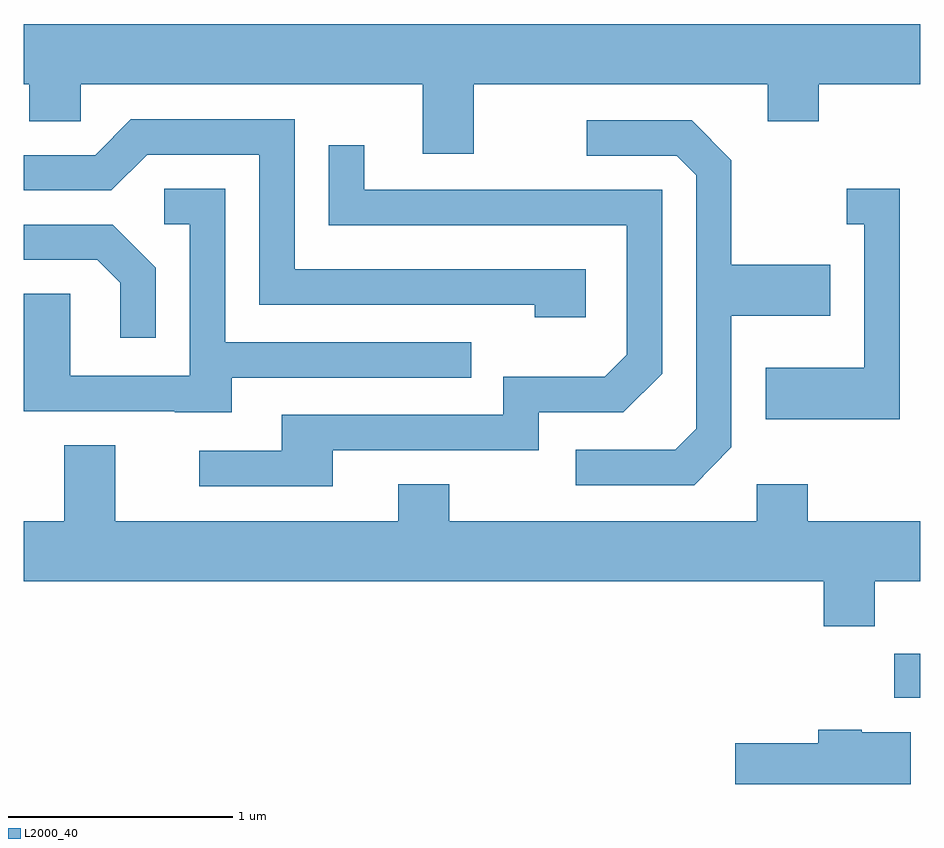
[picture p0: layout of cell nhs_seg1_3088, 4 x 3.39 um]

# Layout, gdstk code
import gdstk
lib = gdstk.Library(unit=1e-6, precision=1e-09)
def R(c, l, rs):  # rectangles x0, y0, x1, y1
    for r in rs: c.add(gdstk.rectangle(r[:2], r[2:], *l))
def P(c, l, *ps):  # polygons
    for p in ps: c.add(gdstk.Polygon(p, *l))
L2000_40 = (2000, 40)

nhs_seg1_3088 = lib.new_cell('nhs_seg1_3088')
R(nhs_seg1_3088, L2000_40, [(281.496,970.096,281.611,970.294)])
P(nhs_seg1_3088, L2000_40, [(279.619,972.836),(280.931,972.836),(280.931,972.671),(281.159,972.671),(281.159,972.836),(281.611,972.836),(281.611,973.104),(277.611,973.104),(277.611,972.836),(277.636,972.836),(277.636,972.671),(277.864,972.671),(277.864,972.836),(279.391,972.836),(279.391,972.526),(279.619,972.526)],
  [(280.119,972.009),(278.819,972.009),(278.819,972.679),(278.089,972.679),(277.929,972.519),(277.611,972.519),(277.611,972.361),(278.002,972.361),(278.162,972.521),(278.661,972.521),(278.661,971.851),(279.891,971.851),(279.891,971.796),(280.119,971.796)],
  [(280.769,971.214),(280.769,971.801),(281.209,971.801),(281.209,972.029),(280.769,972.029),(280.769,972.497),(280.592,972.674),(280.123,972.674),(280.123,972.516),(280.524,972.516),(280.611,972.429),(280.611,971.297),(280.519,971.204),(280.073,971.204),(280.073,971.046),(280.602,971.046)],
  [(278.989,971.201),(279.909,971.201),(279.909,971.371),(280.287,971.371),(280.459,971.544),(280.459,972.364),(279.129,972.364),(279.129,972.563),(278.971,972.563),(278.971,972.206),(280.301,972.206),(280.301,971.627),(280.204,971.529),(279.751,971.529),(279.751,971.359),(278.761,971.359),(278.761,971.199),(278.393,971.199),(278.393,971.041),(278.989,971.041)],
  [(278.539,971.526),(279.608,971.526),(279.608,971.684),(278.509,971.684),(278.509,972.369),(278.238,972.369),(278.238,972.211),(278.351,972.211),(278.351,971.534),(277.819,971.534),(277.819,971.899),(277.611,971.899),(277.611,971.376),(278.285,971.376),(278.285,971.371),(278.539,971.371)],
  [(281.519,972.369),(281.283,972.369),(281.283,972.211),(281.361,972.211),(281.361,971.569),(280.921,971.569),(280.921,971.341),(281.519,971.341)],
  [(278.199,972.017),(278.007,972.209),(277.611,972.209),(277.611,972.051),(277.939,972.051),(278.041,971.949),(278.041,971.703),(278.199,971.703)],
  [(281.409,970.616),(281.611,970.616),(281.611,970.884),(281.109,970.884),(281.109,971.049),(280.881,971.049),(280.881,970.884),(279.509,970.884),(279.509,971.049),(279.281,971.049),(279.281,970.884),(278.019,970.884),(278.019,971.224),(277.791,971.224),(277.791,970.884),(277.611,970.884),(277.611,970.616),(281.181,970.616),(281.181,970.416),(281.409,970.416)],
  [(281.569,969.944),(281.35,969.944),(281.35,969.954),(281.156,969.954),(281.156,969.894),(280.786,969.894),(280.786,969.712),(281.569,969.712)])

lib.write_gds('nhs_seg1_3088.gds')
